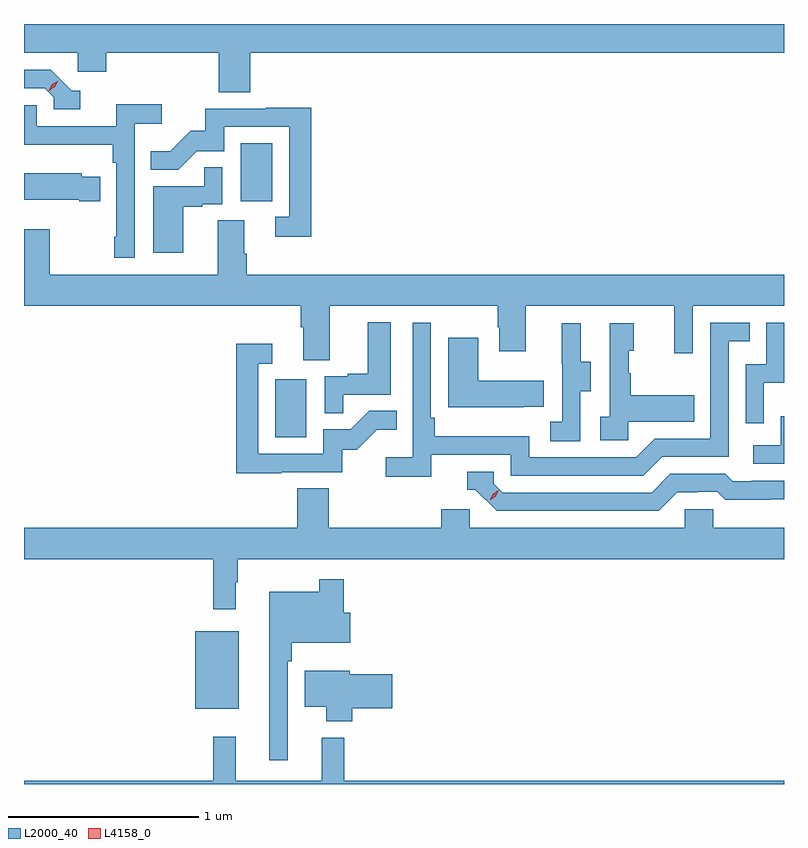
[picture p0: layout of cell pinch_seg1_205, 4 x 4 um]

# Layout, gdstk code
import gdstk
lib = gdstk.Library(unit=1e-6, precision=1e-09)
def R(c, l, rs):  # rectangles x0, y0, x1, y1
    for r in rs: c.add(gdstk.rectangle(r[:2], r[2:], *l))
def P(c, l, *ps):  # polygons
    for p in ps: c.add(gdstk.Polygon(p, *l))
L2000_40 = (2000, 40)
L4158_0 = (4158, 0)

pinch_seg1_205 = lib.new_cell('pinch_seg1_205')
R(pinch_seg1_205, L2000_40, [(949.892,577.583,950.119,577.993), (950.312,579.012,950.476,579.319), (950.132,580.254,950.296,580.561)])
P(pinch_seg1_205, L2000_40, [(950.18,581.036),(952.99,581.036),(952.99,581.188),(948.99,581.188),(948.99,581.036),(949.272,581.036),(949.272,580.938),(949.424,580.938),(949.424,581.036),(950.015,581.036),(950.015,580.828),(950.18,580.828)],
  [(949.285,580.836),(949.242,580.836),(949.131,580.947),(948.99,580.947),(948.99,580.851),(949.098,580.851),(949.146,580.803),(949.146,580.74),(949.285,580.74)],
  [(949.572,580.664),(949.714,580.664),(949.714,580.766),(949.475,580.766),(949.475,580.65),(949.056,580.65),(949.056,580.761),(948.99,580.761),(948.99,580.553),(949.456,580.553),(949.456,580.457),(949.476,580.457),(949.476,580.069),(949.464,580.069),(949.464,579.957),(949.572,579.957)],
  [(950.501,580.748),(950.263,580.748),(950.263,580.743),(949.945,580.743),(949.945,580.626),(949.868,580.626),(949.761,580.519),(949.657,580.519),(949.657,580.42),(949.801,580.42),(949.899,580.518),(950.043,580.518),(950.043,580.647),(950.385,580.647),(950.385,580.173),(950.313,580.173),(950.313,580.068),(950.501,580.068)],
  [(949.828,580.227),(949.928,580.227),(949.928,580.239),(950.034,580.239),(950.034,580.433),(949.939,580.433),(949.939,580.335),(949.67,580.335),(949.67,579.984),(949.828,579.984)],
  [(949.391,580.384),(949.293,580.384),(949.293,580.402),(948.991,580.402),(948.991,580.399),(948.99,580.399),(948.99,580.262),(949.28,580.262),(949.28,580.255),(949.391,580.255)],
  [(950.599,579.704),(951.484,579.704),(951.484,579.593),(951.491,579.593),(951.491,579.465),(951.631,579.465),(951.631,579.704),(952.412,579.704),(952.412,579.456),(952.509,579.456),(952.509,579.704),(952.99,579.704),(952.99,579.868),(950.162,579.868),(950.162,579.98),(950.149,579.98),(950.149,580.154),(950.009,580.154),(950.009,579.868),(949.125,579.868),(949.125,580.108),(948.99,580.108),(948.99,579.704),(950.447,579.704),(950.447,579.592),(950.459,579.592),(950.459,579.418),(950.599,579.418)],
  [(950.669,579.237),(950.92,579.237),(950.92,579.619),(950.798,579.619),(950.798,579.346),(950.695,579.346),(950.695,579.333),(950.574,579.333),(950.574,579.139),(950.669,579.139)],
  [(951.134,578.922),(951.552,578.922),(951.552,578.811),(952.249,578.811),(952.348,578.91),(952.698,578.91),(952.698,579.519),(952.811,579.519),(952.811,579.615),(952.602,579.615),(952.602,579.006),(952.311,579.006),(952.212,578.907),(951.648,578.907),(951.648,579.019),(951.152,579.019),(951.152,579.115),(951.132,579.115),(951.132,579.616),(951.036,579.616),(951.036,578.908),(950.895,578.908),(950.895,578.806),(951.134,578.806)],
  [(952.884,579.299),(952.99,579.299),(952.99,579.615),(952.896,579.615),(952.896,579.396),(952.788,579.396),(952.788,579.087),(952.884,579.087)],
  [(951.918,579.256),(951.973,579.256),(951.973,579.411),(951.919,579.411),(951.919,579.613),(951.821,579.613),(951.821,579.399),(951.822,579.399),(951.822,579.095),(951.759,579.095),(951.759,578.992),(951.918,578.992)],
  [(952.17,579.095),(952.517,579.095),(952.517,579.235),(952.183,579.235),(952.183,579.35),(952.173,579.35),(952.173,579.468),(952.198,579.468),(952.198,579.613),(952.074,579.613),(952.074,579.122),(952.023,579.122),(952.023,578.997),(952.17,578.997)],
  [(951.617,579.173),(951.725,579.173),(951.725,579.31),(951.382,579.31),(951.382,579.538),(951.224,579.538),(951.224,579.17),(951.617,579.17)],
  [(950.345,578.829),(950.664,578.829),(950.664,578.946),(950.74,578.946),(950.847,579.053),(950.951,579.053),(950.951,579.152),(950.808,579.152),(950.71,579.054),(950.565,579.054),(950.565,578.925),(950.223,578.925),(950.223,579.399),(950.296,579.399),(950.296,579.505),(950.107,579.505),(950.107,578.824),(950.345,578.824)],
  [(952.99,579.124),(952.974,579.124),(952.974,578.97),(952.827,578.97),(952.827,578.874),(952.99,578.874)],
  [(952.429,578.724),(952.536,578.724),(952.536,578.727),(952.639,578.727),(952.681,578.685),(952.914,578.685),(952.914,578.687),(952.99,578.687),(952.99,578.784),(952.819,578.784),(952.819,578.781),(952.72,578.781),(952.681,578.82),(952.392,578.82),(952.293,578.721),(951.51,578.721),(951.462,578.769),(951.462,578.832),(951.323,578.832),(951.323,578.736),(951.366,578.736),(951.477,578.625),(952.33,578.625)],
  [(950.104,578.249),(950.116,578.249),(950.116,578.372),(952.99,578.372),(952.99,578.536),(952.617,578.536),(952.617,578.634),(952.467,578.634),(952.467,578.536),(951.336,578.536),(951.336,578.634),(951.185,578.634),(951.185,578.536),(950.594,578.536),(950.594,578.744),(950.429,578.744),(950.429,578.536),(948.99,578.536),(948.99,578.372),(949.987,578.372),(949.987,578.109),(950.104,578.109)],
  [(950.379,577.835),(950.399,577.835),(950.399,577.931),(950.707,577.931),(950.707,578.089),(950.672,578.089),(950.672,578.266),(950.544,578.266),(950.544,578.2),(950.282,578.2),(950.282,577.314),(950.379,577.314)],
  [(950.717,577.588),(950.929,577.588),(950.929,577.766),(950.704,577.766),(950.704,577.783),(950.468,577.783),(950.468,577.595),(950.582,577.595),(950.582,577.517),(950.717,577.517)],
  [(952.99,577.204),(950.675,577.204),(950.675,577.432),(950.558,577.432),(950.558,577.204),(950.105,577.204),(950.105,577.438),(949.987,577.438),(949.987,577.204),(948.99,577.204),(948.99,577.188),(952.99,577.188)])
P(pinch_seg1_205, L4158_0, [(951.44,578.682),(951.44,578.682),(951.456,578.714),(951.487,578.734),(951.488,578.734),(951.488,578.734),(951.471,578.701),(951.441,578.682)],
  [(949.121,580.838),(949.121,580.838),(949.138,580.87),(949.169,580.889),(949.169,580.889),(949.169,580.889),(949.152,580.857),(949.122,580.838)])

lib.write_gds('pinch_seg1_205.gds')
